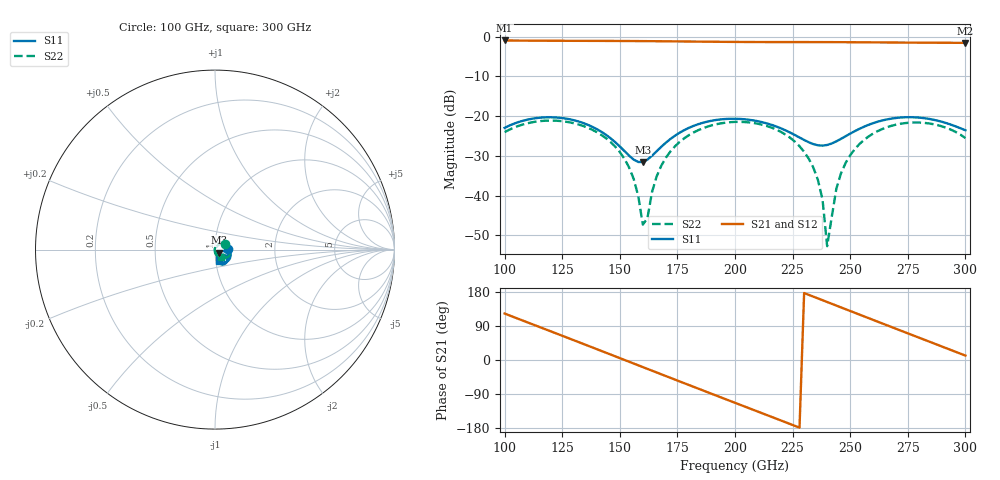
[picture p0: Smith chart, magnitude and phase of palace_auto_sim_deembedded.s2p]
! Created with skrf 1.11.0 (http://scikit-rf.org).
# GHz S DB R 50.0
!freq dBS11 angS11 dBS21 angS21 dBS12 angS12 dBS22 angS22
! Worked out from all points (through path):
!   101 points, 100 GHz to 300 GHz, reference 50 ohm
!   highest |S21| = -0.97 dB at 100 GHz (marker M1); lowest = -1.6 dB at 300 GHz (marker M2)
!   group delay of S21, straight-line fit = 6.54 ps
!   lowest |S11| = -31.5 dB at 160 GHz (marker M3), VSWR 1.05, Z = 52.1 - j1.69 ohm
!   |S11| at or under -10 dB: start of sweep to end of sweep
!   |S22| runs from -52.7 to -21.1 dB; largest |S21 - S12| = 1e-13
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100  -22.95 1.9  -0.97 122.6  -0.97 122.6  -24.02 27.7
116  -20.37 -28.2  -1.04 85.1  -1.04 85.1  -21.22 -2.6
134  -21.71 -61.7  -1.07 42.8  -1.07 42.8  -22.46 -39.2
152  -28.77 -72.4  -1.11 0.3  -1.11 0.3  -30.72 -73.0
156  -30.93 -59.6  -1.12 -9.2  -1.12 -9.2  -35.75 -76.2
160  -31.54 -37.6  -1.14 -18.7  -1.14 -18.7  -47.30 -44.9
162  -30.94 -27.2  -1.14 -23.4  -1.14 -23.4  -45.62 38.7
164  -29.96 -19.4  -1.15 -28.2  -1.15 -28.2  -39.06 57.1
168  -27.72 -11.6  -1.17 -37.7  -1.17 -37.7  -32.47 58.1
180  -22.95 -17.4  -1.24 -66.0  -1.24 -66.0  -24.79 37.4
200  -20.66 -46.5  -1.34 -112.9  -1.34 -112.9  -21.46 -3.9
220  -23.09 -70.1  -1.38 -159.7  -1.38 -159.7  -23.99 -48.2
228  -25.38 -70.2  -1.38 -178.6  -1.38 -178.6  -27.58 -67.2
234  -27.04 -60.9  -1.38 167.3  -1.38 167.3  -32.94 -83.0
238  -27.42 -50.1  -1.39 157.8  -1.39 157.8  -41.03 -98.2
240  -27.25 -44.5  -1.39 153.0  -1.39 153.0  -52.71 -133.2
244  -26.35 -35.5  -1.40 143.6  -1.40 143.6  -38.24 84.4
248  -25.06 -30.8  -1.41 134.1  -1.41 134.1  -31.79 71.4
256  -22.66 -31.4  -1.44 115.2  -1.44 115.2  -25.99 51.1
268  -20.61 -43.8  -1.48 86.9  -1.48 86.9  -22.42 22.5
282  -20.51 -61.5  -1.53 53.9  -1.53 53.9  -21.69 -10.4
300  -23.55 -72.2  -1.57 11.6  -1.57 11.6  -25.51 -53.9
